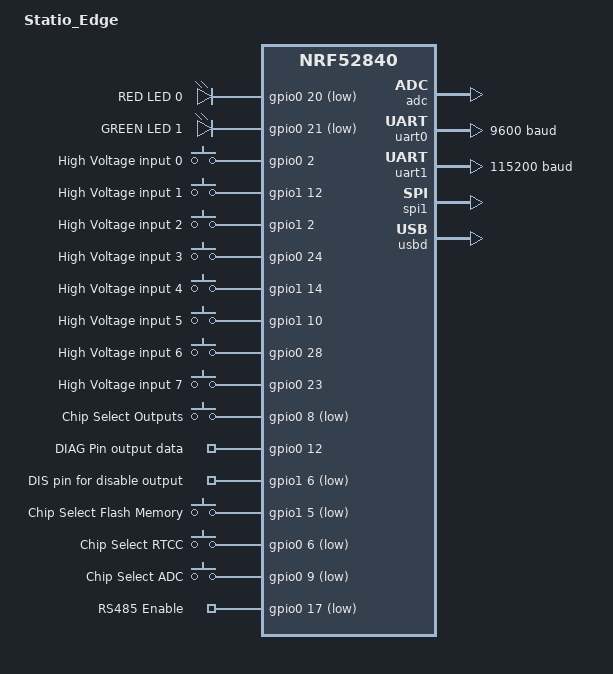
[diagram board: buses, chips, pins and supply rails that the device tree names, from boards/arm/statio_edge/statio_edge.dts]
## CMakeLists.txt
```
# SPDX-License-Identifier: Apache-2.0

cmake_minimum_required(VERSION 3.20.0)

find_package(Zephyr REQUIRED HINTS $ENV{ZEPHYR_BASE})
project(blinky)

target_sources(app PRIVATE src/main.c)
target_sources(app PRIVATE src/include/ad717x.c)
target_sources(app PRIVATE src/include/no_os_spi.c)
```

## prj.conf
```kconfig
#
# Copyright (c) 2020 Nordic Semiconductor ASA
#
# SPDX-License-Identifier: LicenseRef-BSD-5-Clause-Nordic
#

# Configure GPIO
CONFIG_GPIO=y
CONFIG_NFCT_PINS_AS_GPIOS=y

# Configure RTT Console
CONFIG_CONSOLE=y
CONFIG_UART_CONSOLE=n
CONFIG_RTT_CONSOLE=y
CONFIG_USE_SEGGER_RTT=y
CONFIG_SEGGER_RTT_PRINTF_BUFFER_SIZE=128
CONFIG_SEGGER_RTT_BUFFER_SIZE_UP=4096

#SPI CONFIG
CONFIG_SPI=y
CONFIG_SPI_NRFX=y
CONFIG_NRFX_SPI1=y

#Extras
CONFIG_MAIN_STACK_SIZE=4096
```

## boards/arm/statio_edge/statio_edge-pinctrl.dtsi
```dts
/*
 * Copyright (c) 2022 Nordic Semiconductor
 * SPDX-License-Identifier: Apache-2.0
 */

&pinctrl {
	uart0_default: uart0_default {
		group1 {
			psels = <NRF_PSEL(UART_TX, 0, 19)>;
				// <NRF_PSEL(UART_RTS, 0, 5)>;
		};
		group2 {
			psels = <NRF_PSEL(UART_RX, 0, 25)>;
				// <NRF_PSEL(UART_CTS, 0, 7)>;
			bias-pull-up;
		};
	};

	uart0_sleep: uart0_sleep {
		group1 {
			psels = <NRF_PSEL(UART_TX, 0, 19)>,
				<NRF_PSEL(UART_RX, 0, 25)>;
				// <NRF_PSEL(UART_RTS, 0, 5)>,
				// <NRF_PSEL(UART_CTS, 0, 7)>;
			low-power-enable;
		};
	};

	uart1_default: uart1_default {
		group1 {
			psels = <NRF_PSEL(UART_RX, 0, 15)>;
			bias-pull-up;
		};
		group2 {
			psels = <NRF_PSEL(UART_TX, 1, 1)>;
		};
	};

	uart1_sleep: uart1_sleep {
		group1 {
			psels = <NRF_PSEL(UART_RX, 0, 15)>,
					<NRF_PSEL(UART_TX, 1, 1)>;
			low-power-enable;
		};
	};

	// i2c0_default: i2c0_default {
	// 	group1 {
	// 		psels = <NRF_PSEL(TWIM_SDA, 0, 26)>,
	// 			<NRF_PSEL(TWIM_SCL, 0, 27)>;
	// 	};
	// };

	// i2c0_sleep: i2c0_sleep {
	// 	group1 {
	// 		psels = <NRF_PSEL(TWIM_SDA, 0, 26)>,
	// 			<NRF_PSEL(TWIM_SCL, 0, 27)>;
	// 		low-power-enable;
	// 	};
	// };

	// i2c1_default: i2c1_default {
	// 	group1 {
	// 		psels = <NRF_PSEL(TWIM_SDA, 0, 30)>,
	// 			<NRF_PSEL(TWIM_SCL, 0, 31)>;
	// 	};
	// };

	// i2c1_sleep: i2c1_sleep {
	// 	group1 {
	// 		psels = <NRF_PSEL(TWIM_SDA, 0, 30)>,
	// 			<NRF_PSEL(TWIM_SCL, 0, 31)>;
	// 		low-power-enable;
	// 	};
	// };

	// pwm0_default: pwm0_default {
	// 	group1 {
	// 		psels = <NRF_PSEL(PWM_OUT0, 0, 13)>;
	// 		nordic,invert;
	// 	};
	// };

	// pwm0_sleep: pwm0_sleep {
	// 	group1 {
	// 		psels = <NRF_PSEL(PWM_OUT0, 0, 13)>;
	// 		low-power-enable;
	// 	};
	// };

	// spi0_default: spi0_default {
	// 	group1 {
	// 		psels = <NRF_PSEL(SPIM_SCK, 0, 27)>,
	// 			<NRF_PSEL(SPIM_MOSI, 0, 26)>,
	// 			<NRF_PSEL(SPIM_MISO, 0, 29)>;
	// 	};
	// };

	// spi0_sleep: spi0_sleep {
	// 	group1 {
	// 		psels = <NRF_PSEL(SPIM_SCK, 0, 27)>,
	// 			<NRF_PSEL(SPIM_MOSI, 0, 26)>,
	// 			<NRF_PSEL(SPIM_MISO, 0, 29)>;
	// 		low-power-enable;
	// 	};
	// };

	spi1_default: spi1_default {
		group1 {
			psels = <NRF_PSEL(SPIM_SCK, 1, 8)>,
				<NRF_PSEL(SPIM_MOSI, 0, 14)>,
				<NRF_PSEL(SPIM_MISO, 1, 9)>;
		};
	};

	spi1_sleep: spi1_sleep {
		group1 {
			psels = <NRF_PSEL(SPIM_SCK, 1, 8)>,
				<NRF_PSEL(SPIM_MOSI, 0, 14)>,
				<NRF_PSEL(SPIM_MISO, 1, 9)>;
			low-power-enable;
		};
	};

	// spi2_default: spi2_default {
	// 	group1 {
	// 		psels = <NRF_PSEL(SPIM_SCK, 0, 19)>,
	// 			<NRF_PSEL(SPIM_MOSI, 0, 20)>,
	// 			<NRF_PSEL(SPIM_MISO, 0, 21)>;
	// 	};
	// };

	// spi2_sleep: spi2_sleep {
	// 	group1 {
	// 		psels = <NRF_PSEL(SPIM_SCK, 0, 19)>,
	// 			<NRF_PSEL(SPIM_MOSI, 0, 20)>,
	// 			<NRF_PSEL(SPIM_MISO, 0, 21)>;
	// 		low-power-enable;
	// 	};
	// };

	// qspi_default: qspi_default {
	// 	group1 {
	// 		psels = <NRF_PSEL(QSPI_SCK, 0, 19)>,
	// 			<NRF_PSEL(QSPI_IO0, 0, 20)>,
	// 			<NRF_PSEL(QSPI_IO1, 0, 21)>,
	// 			<NRF_PSEL(QSPI_IO2, 0, 22)>,
	// 			<NRF_PSEL(QSPI_IO3, 0, 23)>,
	// 			<NRF_PSEL(QSPI_CSN, 0, 17)>;
	// 	};
	// };

	// qspi_sleep: qspi_sleep {
	// 	group1 {
	// 		psels = <NRF_PSEL(QSPI_SCK, 0, 19)>,
	// 			<NRF_PSEL(QSPI_IO0, 0, 20)>,
	// 			<NRF_PSEL(QSPI_IO1, 0, 21)>,
	// 			<NRF_PSEL(QSPI_IO2, 0, 22)>,
	// 			<NRF_PSEL(QSPI_IO3, 0, 23)>,
	// 			<NRF_PSEL(QSPI_CSN, 0, 17)>;
	// 		low-power-enable;
	// 	};
	// };

	// spi3_default: spi3_default {
	// 	group1 {
	// 		psels = <NRF_PSEL(SPIM_SCK, 1, 15)>,
	// 			<NRF_PSEL(SPIM_MISO, 1, 14)>,
	// 			<NRF_PSEL(SPIM_MOSI, 1, 13)>;
	// 	};
	// };

	// spi3_sleep: spi3_sleep {
	// 	group1 {
	// 		psels = <NRF_PSEL(SPIM_SCK, 1, 15)>,
	// 			<NRF_PSEL(SPIM_MISO, 1, 14)>,
	// 			<NRF_PSEL(SPIM_MOSI, 1, 13)>;
	// 		low-power-enable;
	// 	};
	// };

};
```

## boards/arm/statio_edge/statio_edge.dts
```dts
/*
 * Copyright (c) 2017 Linaro Limited
 *
 * SPDX-License-Identifier: Apache-2.0
 */

 /dts-v1/;
 #include <nordic/nrf52840_qiaa.dtsi>
 #include "statio_edge-pinctrl.dtsi"
 
 / {
	 model = "Statio_Edge";
	 compatible = "nordic,nrf52840-dk-nrf52840";
 
	 chosen {
		 zephyr,console = &uart0;
		 zephyr,shell-uart = &uart0;
		 zephyr,uart-mcumgr = &uart0;
		 zephyr,bt-mon-uart = &uart0;
		 zephyr,bt-c2h-uart = &uart0;
		 zephyr,sram = &sram0;
		 zephyr,flash = &flash0;
		 zephyr,code-partition = &slot0_partition;
	 };

	 leds {
		 compatible = "gpio-leds";
		 led0: led_0 {
			 gpios = <&gpio0 20 GPIO_ACTIVE_LOW>;
			 label = "RED LED 0";
		 };
		 led1: led_1 {
			 gpios = <&gpio0 21 GPIO_ACTIVE_LOW>;
			 label = "GREEN LED 1";
		 };
	 };

	plcinputs {
		compatible = "gpio-keys";
		input0: input_0 {
			gpios = <&gpio0 2 (GPIO_PULL_DOWN)>;
			label = "High Voltage input 0";
		};
		input1: input_1 {
			gpios = <&gpio1 12 (GPIO_PULL_DOWN)>;
			label = "High Voltage input 1";
		};
		input2: input_2 {
			gpios = <&gpio1 2 (GPIO_PULL_DOWN)>;
			label = "High Voltage input 2";
		};
		input3: input_3 {
			gpios = <&gpio0 24 (GPIO_PULL_DOWN)>;
			label = "High Voltage input 3";
		};
		input4: input_4 {
			gpios = <&gpio1 14 (GPIO_PULL_DOWN)>;
			label = "High Voltage input 4";
		};
		input5: input_5 {
			gpios = <&gpio1 10 (GPIO_PULL_DOWN)>;
			label = "High Voltage input 5";
		};
		input6: input_6 {
			gpios = <&gpio0 28 (GPIO_PULL_DOWN)>;
			label = "High Voltage input 6";
		};
		input7: input_7 {
			gpios = <&gpio0 23 (GPIO_PULL_DOWN)>;
			label = "High Voltage input 7";
		};
	 };

	plcoutputchip {
		compatible = "gpio-keys";
		csoutputchip: cs_outputchip {
			gpios = <&gpio0 8 (GPIO_ACTIVE_LOW)>; //Verificar, choca con UART0
			label = "Chip Select Outputs";
		};
		diag: diag_pin {
			gpios = <&gpio0 12 (GPIO_PULL_UP)>; //Need to check Pull up or down
			label = "DIAG Pin output data";
		};
		dis: dis_pin {
			gpios = <&gpio1 6 (GPIO_ACTIVE_LOW)>; //Verificar, choca con UART0
			label = "DIS pin for disable output";
		};
	};

	spi_chipselect {
		compatible = "gpio-keys";
		csflashmemory: cs_flashmemory {
			gpios = <&gpio1 5 (GPIO_ACTIVE_LOW)>;
			label = "Chip Select Flash Memory";
		};
		csrtcc: cs_rtcc {
			gpios = <&gpio0 6 (GPIO_ACTIVE_LOW)>; //Verificar, choca con UART0
			label = "Chip Select RTCC";
		};
		csadc: CS_ADC {
			gpios = <&gpio0 9 (GPIO_ACTIVE_LOW)>;
			label = "Chip Select ADC";
		};
		rs485enable: rs485_enable {
			gpios = <&gpio0 17 (GPIO_ACTIVE_LOW)>;
			label = "RS485 Enable";
		};
	};

	//  buttons {
	// 	 compatible = "gpio-keys";
	// 	 button0: button_0 {
			//  gpios = <&gpio0 11 (GPIO_PULL_UP | GPIO_ACTIVE_LOW)>;
	// 		 label = "Push button switch 0";
	// 	 };
	// 	 button1: button_1 {
	// 		 gpios = <&gpio0 12 (GPIO_PULL_UP | GPIO_ACTIVE_LOW)>;
	// 		 label = "Push button switch 1";
	// 	 };
	// 	 button2: button_2 {
	// 		 gpios = <&gpio0 24 (GPIO_PULL_UP | GPIO_ACTIVE_LOW)>;
	// 		 label = "Push button switch 2";
	// 	 };
	// 	 button3: button_3 {
	// 		 gpios = <&gpio0 25 (GPIO_PULL_UP | GPIO_ACTIVE_LOW)>;
	// 		 label = "Push button switch 3";
	// 	 };
	//  };
 
	 /* These aliases are provided for compatibility with samples */
	 aliases {
		 led0 = &led0;
		 led1 = &led1;
		 csadc = &csadc;
		 rs485enable = &rs485enable;


		//  pwm-led0 = &pwm_led0;
		//  sw0 = &button0;
		//  sw1 = &button1;
		//  sw2 = &button2;
		//  sw3 = &button3;
		//  bootloader-led0 = &led0;
	 };
 };
 
 &adc {
	 status = "okay";
 };
 
 &gpiote {
	 status = "okay";
 };
 
 &gpio0 {
	 status = "okay";
 };
 
 &gpio1 {
	 status = "okay";
 };
 
 rs485: &uart0 {
	 compatible = "nordic,nrf-uarte";
	 status = "okay";
	 current-speed = <9600>;
	 pinctrl-0 = <&uart0_default>;
	 pinctrl-1 = <&uart0_sleep>;
	 pinctrl-names = "default", "sleep";
 };
 
 rs232: &uart1 {
	 status = "okay";
	 current-speed = <115200>;
	 pinctrl-0 = <&uart1_default>;
	 pinctrl-1 = <&uart1_sleep>;
	 pinctrl-names = "default", "sleep";
 };
 
//  arduino_i2c: &i2c0 {
// 	 compatible = "nordic,nrf-twi";
// 	 status = "okay";
// 	 pinctrl-0 = <&i2c0_default>;
// 	 pinctrl-1 = <&i2c0_sleep>;
// 	 pinctrl-names = "default", "sleep";
//  };
 
//  &i2c1 {
// 	 compatible = "nordic,nrf-twi";
// 	 /* Cannot be used together with spi1. */
// 	 /* status = "okay"; */
// 	 pinctrl-0 = <&i2c1_default>;
// 	 pinctrl-1 = <&i2c1_sleep>;
// 	 pinctrl-names = "default", "sleep";
//  };
 
//  &pwm0 {
// 	 status = "okay";
// 	 pinctrl-0 = <&pwm0_default>;
// 	 pinctrl-1 = <&pwm0_sleep>;
// 	 pinctrl-names = "default", "sleep";
//  };
 
//  &spi0 {
// 	 compatible = "nordic,nrf-spi";
// 	 /* Cannot be used together with i2c0. */
// 	 /* status = "okay"; */
// 	 pinctrl-0 = <&spi0_default>;
// 	 pinctrl-1 = <&spi0_sleep>;
// 	 pinctrl-names = "default", "sleep";
//  };
 
 &spi1 {
	compatible = "nordic,nrf-spi";
	status = "okay";
	pinctrl-0 = <&spi1_default>;
	pinctrl-1 = <&spi1_sleep>;
	pinctrl-names = "default", "sleep";
 };

 
//  &spi2 {
// 	 compatible = "nordic,nrf-spi";
// 	 status = "disabled";
// 	 pinctrl-0 = <&spi2_default>;
// 	 pinctrl-1 = <&spi2_sleep>;
// 	 pinctrl-names = "default", "sleep";
//  };
 
//  &qspi {
// 	 status = "okay";
// 	 pinctrl-0 = <&qspi_default>;
// 	 pinctrl-1 = <&qspi_sleep>;
// 	 pinctrl-names = "default", "sleep";
// 	 mx25r64: mx25r6435f@0 {
// 		 compatible = "nordic,qspi-nor";
// 		 reg = <0>;
// 		 /* MX25R64 supports only pp and pp4io */
// 		 writeoc = "pp4io";
// 		 /* MX25R64 supports all readoc options */
// 		 readoc = "read4io";
// 		 sck-frequency = <8000000>;
// 		 label = "MX25R64";
// 		 jedec-id = [c2 28 17];
// 		 sfdp-bfp = [
// 			 e5 20 f1 ff  ff ff ff 03  44 eb 08 6b  08 3b 04 bb
// 			 ee ff ff ff  ff ff 00 ff  ff ff 00 ff  0c 20 0f 52
// 			 10 d8 00 ff  23 72 f5 00  82 ed 04 cc  44 83 68 44
// 			 30 b0 30 b0  f7 c4 d5 5c  00 be 29 ff  f0 d0 ff ff
// 		 ];
// 		 size = <67108864>;
// 		 has-dpd;
// 		 t-enter-dpd = <10000>;
// 		 t-exit-dpd = <35000>;
// 	 };
//  };
 
//  arduino_spi: &spi3 {
// 	 status = "okay";
// 	 cs-gpios = <&arduino_header 16 GPIO_ACTIVE_LOW>; /* D10 */
// 	 pinctrl-0 = <&spi3_default>;
// 	 pinctrl-1 = <&spi3_sleep>;
// 	 pinctrl-names = "default", "sleep";
//  };
 
 &flash0 {
 
	 partitions {
		 compatible = "fixed-partitions";
		 #address-cells = <1>;
		 #size-cells = <1>;
 
		 boot_partition: partition@0 {
			 label = "mcuboot";
			 reg = <0x000000000 0x0000C000>;
		 };
		 slot0_partition: partition@c000 {
			 label = "image-0";
			 reg = <0x0000C000 0x00067000>;
		 };
		 slot1_partition: partition@73000 {
			 label = "image-1";
			 reg = <0x00073000 0x00067000>;
		 };
		 scratch_partition: partition@da000 {
			 label = "image-scratch";
			 reg = <0x000da000 0x0001e000>;
		 };
 
		 /*
		  * The flash starting at 0x000f8000 and ending at
		  * 0x000fffff is reserved for use by the application.
		  */
 
		 /*
		  * Storage partition will be used by FCB/LittleFS/NVS
		  * if enabled.
		  */
		 storage_partition: partition@f8000 {
			 label = "storage";
			 reg = <0x000f8000 0x00008000>;
		 };
	 };
 };
 
 zephyr_udc0: &usbd {
	 compatible = "nordic,nrf-usbd";
	 status = "okay";
 };
```

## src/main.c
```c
/*
* Copyright (c) 2012-2014 Wind River Systems, Inc.
*
* SPDX-License-Identifier: Apache-2.0
*/

#include <zephyr.h>
#include <sys/printk.h>
#include <drivers/spi.h>

#include "include/ad411x_regs.h"
#include "include/no_os_spi.h"

#include "include/ad717x.h"


/* The devicetree node identifier for the "led0" alias. */
#define LED0_NODE DT_ALIAS(led0)
#define rs485_enable DT_ALIAS(rs485enable)


/*
 * A build error on this line means your board is unsupported.
 * See the sample documentation for information on how to fix this.
 */
static const struct gpio_dt_spec led = GPIO_DT_SPEC_GET(LED0_NODE, gpios);
static const struct gpio_dt_spec rs485en = GPIO_DT_SPEC_GET(rs485_enable, gpios);


void main(void)
{
	printk("Program Init\n");

	/* Other variables */
	int timeout = 1000;
	int8_t ret;
	uint32_t sample;

	/* Create a new driver instance */
	ad717x_dev* ad411x_dev;
	ad717x_init_param ad411x_init;

	ad411x_init.active_device = ID_AD4111;
	ad411x_init.regs = ad4111_regs;
	ad411x_init.useCRC = AD717X_DISABLE;
	ad411x_init.num_regs = sizeof(ad4111_regs) / sizeof(ad4111_regs[0]);
	ad411x_init.num_setups = 1; //Num of ADC channel setups, Setup0 0-10V, Setup1 4-20mA
	ad411x_init.num_channels = 12; //Use 12 channels
	ad411x_init.mode = CONTINUOUS; //Continuos read mode

	// ADC Setup
	//Setup configuration for Voltage input 0-10V, Setup0
	ad411x_init.setups[0].bi_unipolar = false; //Set all channels to unipolar
	ad411x_init.setups[0].ref_buff = false; //Disable Reference Buffer
	ad411x_init.setups[0].input_buff = true; //Enable Input Buffer
	ad411x_init.setups[0].ref_source = EXTERNAL_REF; //Set channel Reference Source to EXTERNAL 2.5V REF
	ad411x_init.filter_configuration[0].odr = sps_503; //503 SPS Output data rate

	//Setup configuration for Voltage input 0-10V, Setup1
	ad411x_init.setups[1].bi_unipolar = false; //Set all channels to unipolar
	ad411x_init.setups[1].ref_buff = false; //Disable Reference Buffer
	ad411x_init.setups[1].input_buff = false; //Input Buffer disabled for 4-20mA inputs
	ad411x_init.setups[1].ref_source = EXTERNAL_REF; //Set channel Reference Source to EXTERNAL 2.5V REF
	ad411x_init.filter_configuration[1].odr = sps_503; //503 SPS Output data rate

	// TODO: unused 4-20mA gives overrange error, check
	//Disabled for now

	//Config LED
	ret = gpio_pin_configure_dt(&led, GPIO_OUTPUT_ACTIVE);
	if (ret < 0) {
		return;
	}

	//Config RS485 Enable
	ret = gpio_pin_configure_dt(&rs485en, GPIO_OUTPUT_ACTIVE);
	if (ret < 0) {
		return;
	}

	/* Initialize the driver instance */
	ret = AD717X_Init(&ad411x_dev, ad411x_init);
	if (ret < 0) {
		printk("bobop1\n");
	}

	while (1) {
		// /* Read data from the ADC */
		ret = AD717X_WaitForReady(ad411x_init, timeout);
		if (ret < 0)
			printk("bobop2\n");
		/*
			Data Output calc :
			Code = (2^N × VIN × 0.1)/VREF
			The output code for any input current is represented as
			Code = (2^N × IIN × 50 Ω)/VREF
			Our Side: 5.02V input = 5.2925944 in code, adjust offset
		*/
		//Voltage Input (V) = Data * 0.000001490116119384765625
		//TODO: Print all channels data
		AD717X_ReadData(ad411x_init, &sample);

		// printk("CRUDE CHN = %d, S Read: %d\n", ret, sample);

		int channel = sample & 0x0F;
		sample = sample >> 7;

		printk("CHN = %d, S Read: %d\n", channel, sample);

		// k_sleep(K_MSEC(5));
	}
}
```
